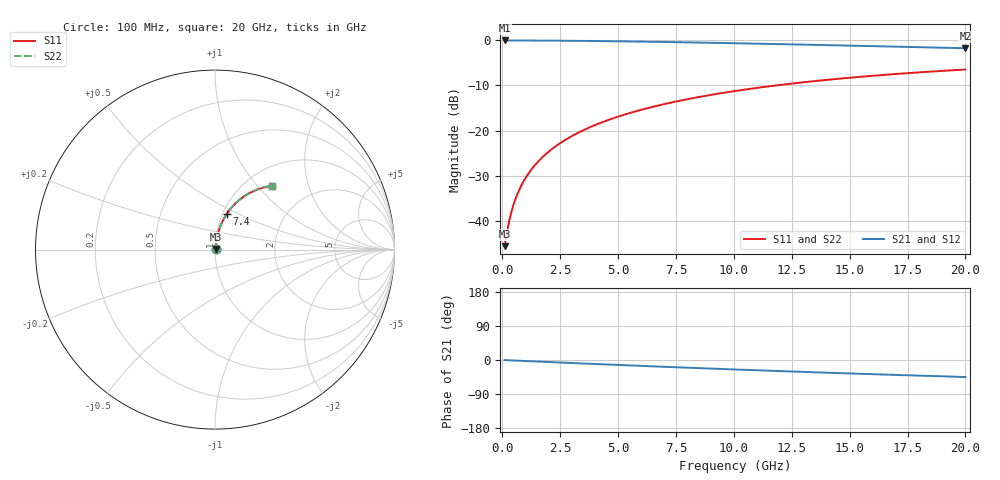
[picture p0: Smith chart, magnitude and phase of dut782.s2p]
! Touchstone file exported from HFSS 2024.1.0
!  File:  C:/UserFiles/LocalFiles/RDL_TSV_Batchsim/temp_RDL_top_782_1779853030.aedt
!  Generated:  11:39:17 AM May 27, 2026
!  Design:  RDL_top
!  Project:  temp_RDL_top_782_1779853030
!  Setup:  Setup1
!  Solution:  Sweep
! Variables:
!  dtsv = 10.80580581um
!  hbump = 3um
!  htsv = 61.7um
!  ldown = 100um
!  lrdl = 633.8um
!  p = 40
!  p1 = 41.69um
!  rhole = 1um
!  t = 450um
!  tdown = 3.915915916um
!  trdl = 4.81um
!  wdown = 15.38538539um
!  wrdl = 10.94um
# GHz S MA R 50.000000
! Terminal data exported
! Port[1] = Box2_T1
! Port[2] = Box2_T2
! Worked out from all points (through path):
!   200 points, 100 MHz to 20 GHz, reference 50 ohm
!   highest |S21| = -0.04 dB at 100 MHz (marker M1); lowest = -1.8 dB at 20 GHz (marker M2)
!   group delay of S21, straight-line fit = 6.23 ps
!   lowest |S11| = -45.6 dB at 100 MHz (marker M3), VSWR 1.01, Z = 50.4 + j0.304 ohm
!   |S11| at or under -10 dB: start of sweep to 11.83 GHz
!   |S22| runs from -45.6 to -6.5 dB; largest |S21 - S12| = 3.2e-14
!   S11 on the Smith chart (normalised r, x): 100 MHz: 1.01, +0.01; 7.4 GHz: 1.05, +0.43; 20 GHz: 1.31, +1.19
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0.1  0.005241 35.1  0.9957 -0.3  0.9957 -0.3  0.005241 35.1
! Gamma 0 0 0 0
! Port Impedance 50 0 50 0
0.2  0.007429 53.8  0.9956 -0.5  0.9956 -0.5  0.007429 53.8
0.3  0.01002 63.1  0.9955 -0.8  0.9955 -0.8  0.01002 63.1
0.4  0.01275 68.4  0.9954 -1.1  0.9954 -1.1  0.01275 68.4
0.5  0.01553 71.7  0.9952 -1.4  0.9952 -1.4  0.01553 71.7
0.6  0.01833 74.0  0.995 -1.6  0.995 -1.6  0.01833 74.0
0.8  0.02399 76.8  0.9947 -2.2  0.9947 -2.2  0.02399 76.8
1.1  0.03254 79.0  0.9941 -3.0  0.9941 -3.0  0.03254 79.0
1.5  0.04398 80.2  0.9931 -4.0  0.9931 -4.0  0.04398 80.2
1.8  0.05258 80.5  0.9922 -4.8  0.9922 -4.8  0.05258 80.5
2.1  0.06116 80.5  0.9912 -5.6  0.9912 -5.6  0.06116 80.5
2.7  0.07827 80.1  0.9887 -7.2  0.9887 -7.2  0.07827 80.1
3.5  0.1009 79.0  0.9846 -9.3  0.9846 -9.3  0.1009 79.1
4.2  0.1205 77.9  0.9803 -11.1  0.9803 -11.1  0.1205 78.0
5  0.1426 76.5  0.9747 -13.1  0.9747 -13.1  0.1427 76.5
6.8  0.1912 73.1  0.96 -17.5  0.96 -17.5  0.1913 73.2
7.4  0.207 71.9  0.9545 -18.9  0.9545 -18.9  0.2072 72.0
8.7  0.2405 69.4  0.942 -22.0  0.942 -22.0  0.2407 69.4
10.1  0.2754 66.6  0.9277 -25.2  0.9277 -25.2  0.2756 66.7
13.4  0.3514 60.2  0.8914 -32.3  0.8914 -32.3  0.3518 60.3
16.7  0.4178 54.0  0.8537 -38.8  0.8537 -38.8  0.4184 54.1
20  0.4746 48.2  0.8165 -44.9  0.8165 -44.9  0.4753 48.4
